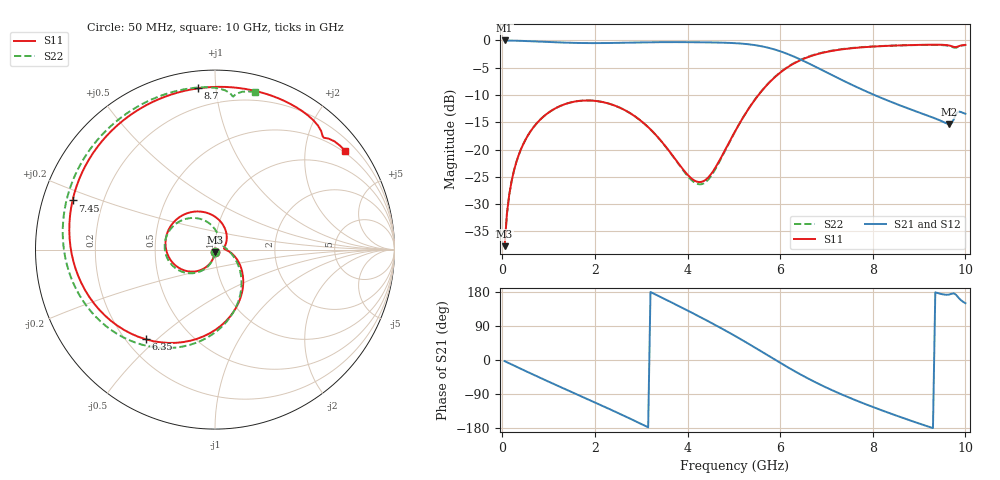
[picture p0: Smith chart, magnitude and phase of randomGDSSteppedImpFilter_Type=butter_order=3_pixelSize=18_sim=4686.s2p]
! freq	dB(S11)	phase(S11)	dB(S12)	phase(S12)
!  dB(S21)	phase(S21)	dB(S22)	phase(S22)
!S-par simulation data
#  GHz  S  DB  R 50
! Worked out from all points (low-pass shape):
!   200 points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, 50 MHz to 10 GHz, reference 50 ohm
!   highest |S21| = -0.01 dB at 50 MHz (marker M1); lowest = -15.3 dB at 9.65 GHz (marker M2)
!   |S21| within 3 dB of the highest: start of sweep to 6.31 GHz
!   lowest |S11| = -37.7 dB at 50 MHz (marker M3), VSWR 1.03, Z = 49.9 - j1.3 ohm
!   |S11| at or under -10 dB: start of sweep to 5.533 GHz
!   |S22| runs from -37.7 to -0.8 dB; largest |S21 - S12| = 0
!   S11 on the Smith chart (normalised r, x): 50 MHz: 1.00, -0.03; 6.35 GHz: 0.28, -0.46; 7.45 GHz: 0.09, +0.17; 8.7 GHz: 0.09, +0.90; 10 GHz: 0.46, +2.92
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0.05  -37.72 -92.2  -0.01 -3.0  -0.01 -3.0  -37.72 -91.9
0.1  -31.77 -95.6  -0.01 -5.9  -0.01 -5.9  -31.77 -95.1
0.2  -25.83 -102.1  -0.03 -11.7  -0.03 -11.7  -25.83 -101.1
0.5  -18.22 -120.5  -0.11 -28.9  -0.11 -28.9  -18.21 -118.1
1.15  -12.44 -158.9  -0.34 -65.5  -0.34 -65.5  -12.43 -153.0
1.75  -11.03 166.3  -0.48 -98.3  -0.48 -98.3  -11.02 176.1
2.2  -11.36 139.8  -0.49 -123.1  -0.49 -123.1  -11.36 153.3
2.7  -13.03 109.0  -0.42 -151.3  -0.42 -151.3  -13.03 128.1
3.4  -18.14 62.0  -0.32 167.4  -0.32 167.4  -18.16 93.6
3.85  -23.07 29.6  -0.32 139.9  -0.32 139.9  -23.20 71.3
4.3  -25.94 6.1  -0.34 111.7  -0.34 111.7  -26.36 34.8
4.7  -21.86 -8.1  -0.40 85.7  -0.40 85.7  -22.05 -6.4
5.05  -16.32 -28.9  -0.51 61.8  -0.51 61.8  -16.33 -33.0
5.7  -8.31 -77.7  -1.26 14.7  -1.26 14.7  -8.25 -77.5
6.35  -3.99 -127.8  -3.16 -32.1  -3.16 -32.1  -3.92 -121.1
6.7  -2.77 -152.5  -4.56 -54.9  -4.56 -54.9  -2.71 -142.4
7.45  -1.52 161.0  -7.74 -97.2  -7.74 -97.2  -1.46 178.5
8.35  -0.99 113.2  -11.12 -139.7  -11.12 -139.7  -0.97 139.2
8.7  -0.88 96.0  -12.27 -155.0  -12.27 -155.0  -0.89 125.0
9.2  -0.79 72.1  -13.83 -175.8  -13.83 -175.8  -0.82 105.1
9.65  -0.93 50.4  -15.35 172.8  -15.35 172.8  -1.02 86.4
10  -0.82 37.1  -13.44 149.9  -13.44 149.9  -0.86 75.6
